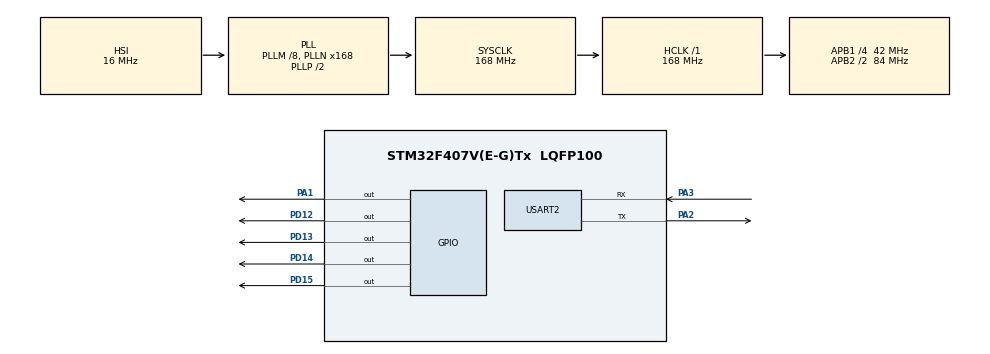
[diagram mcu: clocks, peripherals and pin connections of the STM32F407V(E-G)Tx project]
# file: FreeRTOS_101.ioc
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FREERTOS.Tasks01=defaultTask,0,128,StartDefaultTask,Default,NULL,Dynamic,NULL,NULL;myTask02,0,128,StartTask02,Default,NULL,Dynamic,NULL,NULL;myTask03,0,128,StartTask03,Default,NULL,Dynamic,NULL,NULL;myTask04,0,128,StartTask04,Default,NULL,Dynamic,NULL,NULL
FREERTOS.configUSE_NEWLIB_REENTRANT=1
Mcu.Family=STM32F4
Mcu.Name=STM32F407V(E-G)Tx
Mcu.Package=LQFP100
NVIC.PriorityGroup=NVIC_PRIORITYGROUP_4
NVIC.TIM2_IRQn=true\:15\:0\:false\:false\:true\:false\:false\:true\:true
NVIC.TimeBase=TIM2_IRQn
NVIC.TimeBaseIP=TIM2
PA1.Signal=GPIO_Output
PA13.Mode=Serial_Wire
PA13.Signal=SYS_JTMS-SWDIO
PA14.Mode=Serial_Wire
PA14.Signal=SYS_JTCK-SWCLK
PA2.Mode=Asynchronous
PA2.Signal=USART2_TX
PA3.Mode=Asynchronous
PA3.Signal=USART2_RX
PD12.Signal=GPIO_Output
PD13.Signal=GPIO_Output
PD14.Signal=GPIO_Output
PD15.Signal=GPIO_Output
PH0-OSC_IN.Mode=HSE-External-Oscillator
PH0-OSC_IN.Signal=RCC_OSC_IN
PH1-OSC_OUT.Mode=HSE-External-Oscillator
PH1-OSC_OUT.Signal=RCC_OSC_OUT
ProjectManager.HeapSize=0x200
ProjectManager.StackSize=0x400
ProjectManager.TargetToolchain=STM32CubeIDE
RCC.48MHZClocksFreq_Value=84000000
RCC.AHBFreq_Value=168000000
RCC.APB1CLKDivider=RCC_HCLK_DIV4
RCC.APB1Freq_Value=42000000
RCC.APB1TimFreq_Value=84000000
RCC.APB2CLKDivider=RCC_HCLK_DIV2
RCC.APB2Freq_Value=84000000
RCC.APB2TimFreq_Value=168000000
RCC.CortexFreq_Value=168000000
RCC.HCLKFreq_Value=168000000
RCC.HSE_VALUE=25000000
RCC.HSI_VALUE=16000000
RCC.LSE_VALUE=32768
RCC.PLLM=8
RCC.PLLN=168
RCC.SYSCLKFreq_VALUE=168000000
RCC.SYSCLKSource=RCC_SYSCLKSOURCE_PLLCLK
RCC.VCOOutputFreq_Value=336000000
USART2.VirtualMode=VM_ASYNC
VP_FREERTOS_VS_CMSIS_V1.Mode=CMSIS_V1
VP_SYS_VS_tim2.Mode=TIM2
board=custom

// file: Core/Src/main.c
/* USER CODE BEGIN Header */
/**
  ******************************************************************************
  * @file           : main.c
  * @brief          : Main program body
  ******************************************************************************
  * @attention
  *
  * Copyright (c) 2023 STMicroelectronics.
  * All rights reserved.
  *
  * This software is licensed under terms that can be found in the LICENSE file
  * in the root directory of this software component.
  * If no LICENSE file comes with this software, it is provided AS-IS.
  *
  ******************************************************************************
  */
/* USER CODE END Header */
#include "main.h"
#include "cmsis_os.h"

UART_HandleTypeDef huart2;

osThreadId defaultTaskHandle;
osThreadId myTask02Handle;
osThreadId myTask03Handle;
osThreadId myTask04Handle;
osThreadId myTask05Handle;

void SystemClock_Config(void);
static void MX_GPIO_Init(void);
static void MX_USART2_UART_Init(void);
void StartDefaultTask(void const * argument);
void StartTask02(void const * argument);
void StartTask03(void const * argument);
void StartTask04(void const * argument);

/* USER CODE BEGIN 0 */
void send_deftask(void)
{
	uint8_t data[] = "Hello from def task\n";
	HAL_UART_Transmit(&huart2, data, sizeof(data), 500);
}

void send_task02(void)
{
	uint8_t data[] = "Hello from task 2\n";
	HAL_UART_Transmit(&huart2, data, sizeof(data), 500);
}

void send_task03(void)
{
	uint8_t data[] = "Hello from task 3\n";
	HAL_UART_Transmit(&huart2, data, sizeof(data), 500);

}
void StartTask05(void const * argument);
/* USER CODE END 0 */

int main(void)
{

  /* MCU Configuration--------------------------------------------------------*/

  /* Reset of all peripherals, Initializes the Flash interface and the Systick. */
  HAL_Init();

  /* Configure the system clock */
  SystemClock_Config();

  /* Initialize all configured peripherals */
  MX_GPIO_Init();
  MX_USART2_UART_Init();

  /* Create the thread(s) */
  /* definition and creation of defaultTask */
  osThreadDef(defaultTask, StartDefaultTask, osPriorityAboveNormal, 0, 128);
  defaultTaskHandle = osThreadCreate(osThread(defaultTask), NULL);

  /* definition and creation of myTask02 */
  osThreadDef(myTask02, StartTask02, osPriorityNormal, 0, 128);
  myTask02Handle = osThreadCreate(osThread(myTask02), NULL);

  /* definition and creation of myTask03 */
  osThreadDef(myTask03, StartTask03, osPriorityBelowNormal, 0, 128);
  myTask03Handle = osThreadCreate(osThread(myTask03), NULL);

  /* definition and creation of myTask04 */
  osThreadDef(myTask04, StartTask04, osPriorityNormal, 0, 128);
  myTask04Handle = osThreadCreate(osThread(myTask04), NULL);

  /* USER CODE BEGIN RTOS_THREADS */
  /* add threads, ... */
  osThreadDef(myTask05, StartTask05, osPriorityNormal, 0, 128);
  myTask05Handle = osThreadCreate(osThread(myTask05), NULL);
  /* USER CODE END RTOS_THREADS */

  /* Start scheduler */
  osKernelStart();

  /* We should never get here as control is now taken by the scheduler */
  /* Infinite loop */
  while (1)
  {

    /* USER CODE BEGIN 3 */
//	  HAL_GPIO_TogglePin(GPIOD, GPIO_PIN_12);
//	  HAL_Delay(1);
//	  HAL_GPIO_TogglePin(GPIOD, GPIO_PIN_13);
//	  HAL_Delay(2);
//	  HAL_GPIO_TogglePin(GPIOD, GPIO_PIN_14);
//	  HAL_Delay(15);
//	  HAL_GPIO_TogglePin(GPIOD, GPIO_PIN_15);
//	  HAL_Delay(20);
  }
  /* USER CODE END 3 */
}

void SystemClock_Config(void)
{
  RCC_OscInitTypeDef RCC_OscInitStruct = {0};
  RCC_ClkInitTypeDef RCC_ClkInitStruct = {0};

  /** Configure the main internal regulator output voltage
  */
  __HAL_RCC_PWR_CLK_ENABLE();
  __HAL_PWR_VOLTAGESCALING_CONFIG(PWR_REGULATOR_VOLTAGE_SCALE1);

  /** Initializes the RCC Oscillators according to the specified parameters
  * in the RCC_OscInitTypeDef structure.
  */
  RCC_OscInitStruct.OscillatorType = RCC_OSCILLATORTYPE_HSI;
  RCC_OscInitStruct.HSIState = RCC_HSI_ON;
  RCC_OscInitStruct.HSICalibrationValue = RCC_HSICALIBRATION_DEFAULT;
  RCC_OscInitStruct.PLL.PLLState = RCC_PLL_ON;
  RCC_OscInitStruct.PLL.PLLSource = RCC_PLLSOURCE_HSI;
  RCC_OscInitStruct.PLL.PLLM = 8;
  RCC_OscInitStruct.PLL.PLLN = 168;
  RCC_OscInitStruct.PLL.PLLP = RCC_PLLP_DIV2;
  RCC_OscInitStruct.PLL.PLLQ = 4;
  if (HAL_RCC_OscConfig(&RCC_OscInitStruct) != HAL_OK)
  {
    Error_Handler();
  }

  /** Initializes the CPU, AHB and APB buses clocks
  */
  RCC_ClkInitStruct.ClockType = RCC_CLOCKTYPE_HCLK|RCC_CLOCKTYPE_SYSCLK
                              |RCC_CLOCKTYPE_PCLK1|RCC_CLOCKTYPE_PCLK2;
  RCC_ClkInitStruct.SYSCLKSource = RCC_SYSCLKSOURCE_PLLCLK;
  RCC_ClkInitStruct.AHBCLKDivider = RCC_SYSCLK_DIV1;
  RCC_ClkInitStruct.APB1CLKDivider = RCC_HCLK_DIV4;
  RCC_ClkInitStruct.APB2CLKDivider = RCC_HCLK_DIV2;

  if (HAL_RCC_ClockConfig(&RCC_ClkInitStruct, FLASH_LATENCY_5) != HAL_OK)
  {
    Error_Handler();
  }
}

static void MX_USART2_UART_Init(void)
{

  huart2.Instance = USART2;
  huart2.Init.BaudRate = 115200;
  huart2.Init.WordLength = UART_WORDLENGTH_8B;
  huart2.Init.StopBits = UART_STOPBITS_1;
  huart2.Init.Parity = UART_PARITY_NONE;
  huart2.Init.Mode = UART_MODE_TX_RX;
  huart2.Init.HwFlowCtl = UART_HWCONTROL_NONE;
  huart2.Init.OverSampling = UART_OVERSAMPLING_16;
  if (HAL_UART_Init(&huart2) != HAL_OK)
  {
    Error_Handler();
  }

}

static void MX_GPIO_Init(void)
{
  GPIO_InitTypeDef GPIO_InitStruct = {0};

  /* GPIO Ports Clock Enable */
  __HAL_RCC_GPIOH_CLK_ENABLE();
  __HAL_RCC_GPIOA_CLK_ENABLE();
  __HAL_RCC_GPIOD_CLK_ENABLE();

  /*Configure GPIO pin Output Level */
  HAL_GPIO_WritePin(GPIOA, GPIO_PIN_1, GPIO_PIN_RESET);

  /*Configure GPIO pin Output Level */
  HAL_GPIO_WritePin(GPIOD, GPIO_PIN_12|GPIO_PIN_13|GPIO_PIN_14|GPIO_PIN_15, GPIO_PIN_RESET);

  /*Configure GPIO pin : PA1 */
  GPIO_InitStruct.Pin = GPIO_PIN_1;
  GPIO_InitStruct.Mode = GPIO_MODE_OUTPUT_PP;
  GPIO_InitStruct.Pull = GPIO_NOPULL;
  GPIO_InitStruct.Speed = GPIO_SPEED_FREQ_LOW;
  HAL_GPIO_Init(GPIOA, &GPIO_InitStruct);

  /*Configure GPIO pins : PD12 PD13 PD14 PD15 */
  GPIO_InitStruct.Pin = GPIO_PIN_12|GPIO_PIN_13|GPIO_PIN_14|GPIO_PIN_15;
  GPIO_InitStruct.Mode = GPIO_MODE_OUTPUT_PP;
  GPIO_InitStruct.Pull = GPIO_NOPULL;
  GPIO_InitStruct.Speed = GPIO_SPEED_FREQ_LOW;
  HAL_GPIO_Init(GPIOD, &GPIO_InitStruct);

}

/* USER CODE BEGIN 4 */
/* USER CODE END Header_StartTask02 */
void StartTask05(void const * argument)
{
  /* USER CODE BEGIN StartTask02 */
  /* Infinite loop */
  for(;;)
  {
//	HAL_GPIO_TogglePin(GPIOD, GPIO_PIN_12);
//	  send_task02();
    osDelay(200);
  }
  /* USER CODE END StartTask02 */
}
/* USER CODE END 4 */

void StartDefaultTask(void const * argument)
{
  /* USER CODE BEGIN 5 */
  /* Infinite loop */
  for(;;)
  {
	  send_deftask();
//	HAL_GPIO_TogglePin(GPIOD, GPIO_PIN_13);
    osDelay(500);
  }
  /* USER CODE END 5 */
}

void StartTask02(void const * argument)
{
  /* USER CODE BEGIN StartTask02 */
  /* Infinite loop */
  for(;;)
  {
//	HAL_GPIO_TogglePin(GPIOD, GPIO_PIN_12);
	  send_task02();
    osDelay(500);
  }
  /* USER CODE END StartTask02 */
}

void StartTask03(void const * argument)
{
  /* USER CODE BEGIN StartTask03 */
  /* Infinite loop */
  for(;;)
  {
	HAL_GPIO_TogglePin(GPIOD, GPIO_PIN_14);
	send_task03();
    osDelay(500);
  }
  /* USER CODE END StartTask03 */
}

void StartTask04(void const * argument)
{
  /* USER CODE BEGIN StartTask04 */
  /* Infinite loop */
  for(;;)
  {
	HAL_GPIO_TogglePin(GPIOD, GPIO_PIN_15);
    osDelay(700);
  }
  /* USER CODE END StartTask04 */
}

void HAL_TIM_PeriodElapsedCallback(TIM_HandleTypeDef *htim)
{
  if (htim->Instance == TIM2) {
    HAL_IncTick();
  }
}

void Error_Handler(void)
{
  __disable_irq();
  while (1)
  {
  }
}
